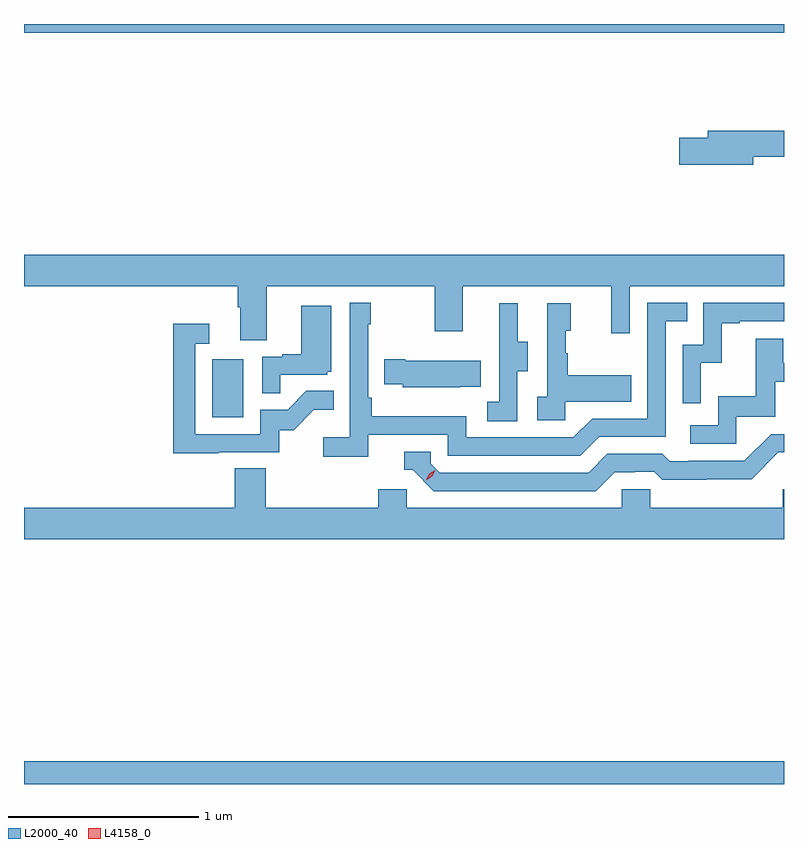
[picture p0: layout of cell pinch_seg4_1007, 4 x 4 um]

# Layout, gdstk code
import gdstk
lib = gdstk.Library(unit=1e-6, precision=1e-09)
def R(c, l, rs):  # rectangles x0, y0, x1, y1
    for r in rs: c.add(gdstk.rectangle(r[:2], r[2:], *l))
def P(c, l, *ps):  # polygons
    for p in ps: c.add(gdstk.Polygon(p, *l))
L2000_40 = (2000, 40)
L4158_0 = (4158, 0)

pinch_seg4_1007 = lib.new_cell('pinch_seg4_1007')
R(pinch_seg4_1007, L2000_40, [(794.809,787.539,798.809,787.66), (795.8,789.468,795.964,789.775), (794.809,791.492,798.809,791.539)])
P(pinch_seg4_1007, L2000_40, [(798.646,790.84),(798.809,790.84),(798.809,790.976),(798.407,790.976),(798.407,790.94),(798.258,790.94),(798.258,790.798),(798.646,790.798)],
  [(796.087,790.16),(796.972,790.16),(796.972,789.921),(797.119,789.921),(797.119,790.16),(797.9,790.16),(797.9,789.912),(797.997,789.912),(797.997,790.16),(798.809,790.16),(798.809,790.324),(794.809,790.324),(794.809,790.16),(795.935,790.16),(795.935,790.048),(795.947,790.048),(795.947,789.874),(796.087,789.874)],
  [(796.622,789.378),(797.04,789.378),(797.04,789.267),(797.737,789.267),(797.836,789.366),(798.186,789.366),(798.186,789.975),(798.299,789.975),(798.299,790.071),(798.09,790.071),(798.09,789.462),(797.799,789.462),(797.7,789.363),(797.136,789.363),(797.136,789.475),(796.64,789.475),(796.64,789.571),(796.62,789.571),(796.62,789.959),(796.633,789.959),(796.633,790.072),(796.524,790.072),(796.524,789.364),(796.383,789.364),(796.383,789.262),(796.622,789.262)],
  [(798.372,789.755),(798.482,789.755),(798.482,789.963),(798.577,789.963),(798.577,789.975),(798.809,789.975),(798.809,790.071),(798.384,790.071),(798.384,789.852),(798.276,789.852),(798.276,789.543),(798.372,789.543)],
  [(797.658,789.551),(798.005,789.551),(798.005,789.691),(797.671,789.691),(797.671,789.806),(797.661,789.806),(797.661,789.924),(797.686,789.924),(797.686,790.069),(797.562,790.069),(797.562,789.578),(797.511,789.578),(797.511,789.453),(797.658,789.453)],
  [(797.406,789.712),(797.461,789.712),(797.461,789.867),(797.407,789.867),(797.407,790.069),(797.309,790.069),(797.309,789.855),(797.31,789.855),(797.31,789.551),(797.247,789.551),(797.247,789.448),(797.406,789.448)],
  [(796.157,789.693),(796.404,789.693),(796.404,789.708),(796.426,789.708),(796.426,790.057),(796.268,790.057),(796.268,789.802),(796.169,789.802),(796.169,789.789),(796.062,789.789),(796.062,789.595),(796.157,789.595)],
  [(795.833,789.285),(796.152,789.285),(796.152,789.402),(796.228,789.402),(796.335,789.509),(796.439,789.509),(796.439,789.608),(796.295,789.608),(796.197,789.51),(796.053,789.51),(796.053,789.381),(795.711,789.381),(795.711,789.855),(795.784,789.855),(795.784,789.961),(795.595,789.961),(795.595,789.28),(795.833,789.28)],
  [(798.558,789.471),(798.763,789.471),(798.763,789.657),(798.809,789.657),(798.809,789.753),(798.805,789.753),(798.805,789.883),(798.661,789.883),(798.661,789.58),(798.462,789.58),(798.462,789.426),(798.315,789.426),(798.315,789.33),(798.558,789.33)],
  [(797.105,789.629),(797.213,789.629),(797.213,789.766),(796.816,789.766),(796.816,789.774),(796.705,789.774),(796.705,789.644),(796.803,789.644),(796.803,789.626),(797.105,789.626)],
  [(797.917,789.18),(798.024,789.18),(798.024,789.183),(798.127,789.183),(798.169,789.141),(798.402,789.141),(798.402,789.143),(798.638,789.143),(798.78,789.285),(798.809,789.285),(798.809,789.381),(798.741,789.381),(798.6,789.24),(798.307,789.24),(798.307,789.237),(798.208,789.237),(798.169,789.276),(797.88,789.276),(797.781,789.177),(796.998,789.177),(796.95,789.225),(796.95,789.288),(796.811,789.288),(796.811,789.192),(796.854,789.192),(796.965,789.081),(797.818,789.081)],
  [(798.809,789.09),(798.803,789.09),(798.803,788.992),(798.105,788.992),(798.105,789.09),(797.955,789.09),(797.955,788.992),(796.824,788.992),(796.824,789.09),(796.673,789.09),(796.673,788.992),(796.082,788.992),(796.082,789.2),(795.917,789.2),(795.917,788.992),(794.809,788.992),(794.809,788.828),(798.809,788.828)])
P(pinch_seg4_1007, L4158_0, [(796.926,789.139),(796.926,789.139),(796.943,789.172),(796.973,789.191),(796.974,789.191),(796.974,789.191),(796.957,789.159),(796.927,789.139)])

lib.write_gds('pinch_seg4_1007.gds')
